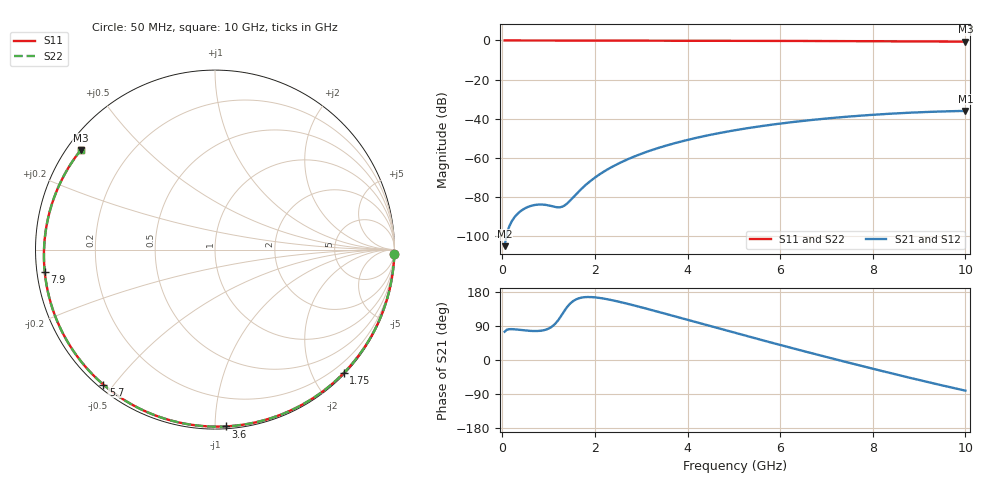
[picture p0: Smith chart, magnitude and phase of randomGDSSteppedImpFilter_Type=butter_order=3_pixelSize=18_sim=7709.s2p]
! freq	dB(S11)	phase(S11)	dB(S12)	phase(S12)
!  dB(S21)	phase(S21)	dB(S22)	phase(S22)
!S-par simulation data
#  GHz  S  DB  R 50
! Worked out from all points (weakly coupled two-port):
!   200 points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, 50 MHz to 10 GHz, reference 50 ohm
!   highest |S21| = -35.94 dB at 10 GHz (marker M1); lowest = -104.9 dB at 50 MHz (marker M2)
!   lowest |S11| = -0.6 dB at 10 GHz (marker M3), VSWR 28.05, Z = 1.98 + j16.5 ohm
!   |S11| at or under -10 dB: nowhere
!   |S22| runs from -0.6 to 0.0 dB; largest |S21 - S12| = 0
!   S11 on the Smith chart (normalised r, x): 50 MHz: 1, -92; 1.75 GHz: 0.02, -2.48; 3.6 GHz: 0.01, -1.06; 5.7 GHz: 0.01, -0.47; 7.9 GHz: 0.02, -0.07; 10 GHz: 0.04, +0.33
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0.05  -0.00 -1.2  -104.95 74.7  -104.95 74.7  -0.00 -1.2
0.4  -0.02 -10.2  -87.00 79.2  -87.00 79.2  -0.02 -10.2
0.75  -0.02 -19.1  -83.78 76.4  -83.78 76.4  -0.02 -19.1
1.5  -0.05 -37.8  -80.82 152.7  -80.82 152.7  -0.05 -37.8
1.55  -0.05 -39.0  -79.56 157.1  -79.56 157.1  -0.05 -39.0
1.75  -0.06 -43.9  -74.80 165.4  -74.80 165.4  -0.06 -43.9
2.05  -0.06 -51.1  -69.12 164.7  -69.12 164.7  -0.06 -51.1
2.45  -0.08 -60.5  -63.50 155.7  -63.50 155.7  -0.08 -60.5
2.9  -0.09 -70.9  -58.74 142.3  -58.74 142.3  -0.09 -70.9
3.4  -0.11 -82.0  -54.62 126.1  -54.62 126.1  -0.11 -82.0
3.6  -0.11 -86.4  -53.22 119.4  -53.22 119.4  -0.11 -86.4
4.3  -0.14 -101.3  -49.10 95.9  -49.10 95.9  -0.14 -101.3
5.05  -0.17 -116.7  -45.70 70.8  -45.70 70.8  -0.17 -116.7
5.7  -0.21 -129.6  -43.35 49.4  -43.35 49.4  -0.21 -129.6
6.2  -0.24 -139.3  -41.83 33.3  -41.83 33.3  -0.24 -139.3
6.7  -0.28 -149.0  -40.52 17.3  -40.52 17.3  -0.28 -149.0
7.3  -0.33 -160.7  -39.19 -1.5  -39.19 -1.5  -0.33 -160.7
7.9  -0.38 -172.5  -38.09 -19.9  -38.09 -19.9  -0.38 -172.5
8.35  -0.43 178.6  -37.41 -33.6  -37.41 -33.6  -0.43 178.6
8.8  -0.48 169.4  -36.85 -46.9  -36.85 -46.9  -0.48 169.4
9.2  -0.52 161.0  -36.46 -58.5  -36.46 -58.5  -0.52 161.0
10  -0.62 143.5  -35.94 -80.9  -35.94 -80.9  -0.62 143.5
